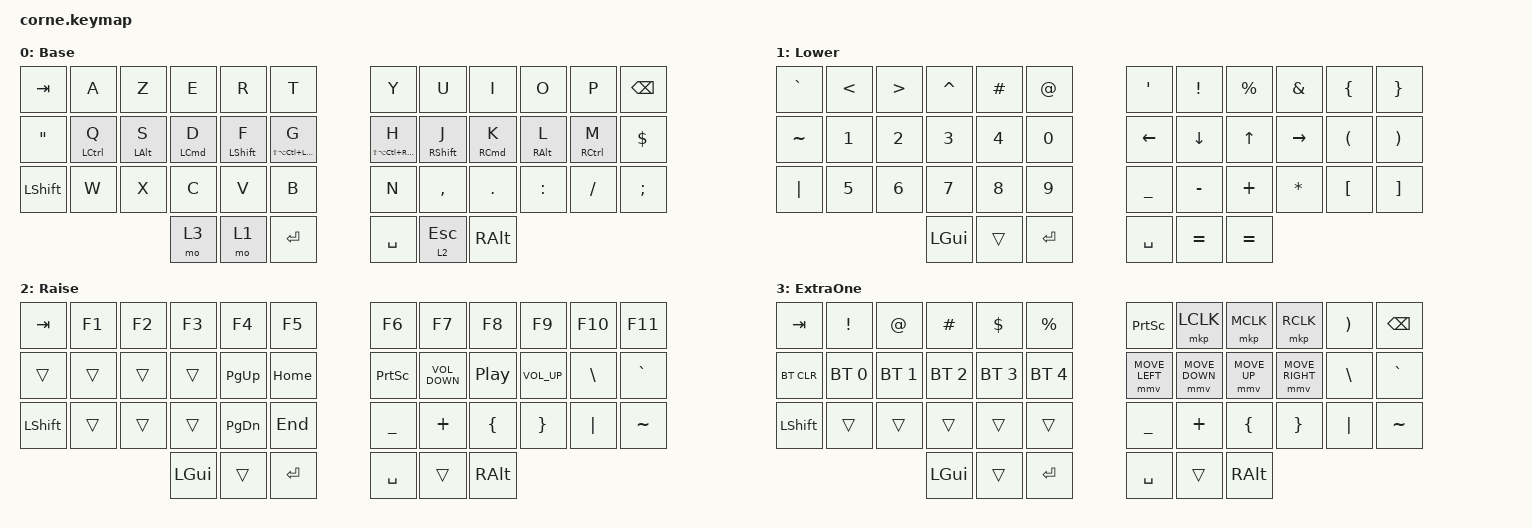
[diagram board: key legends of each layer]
/*
 * Copyright (c) 2020 The ZMK Contributors
 *
 * SPDX-License-Identifier: MIT
 */

#include <behaviors.dtsi>
#include <dt-bindings/zmk/bt.h>
#include <dt-bindings/zmk/keys.h>
#include <dt-bindings/zmk/pointing.h>

/ {
    behaviors {
        HMR: HMR {
            compatible = "zmk,behavior-hold-tap";
            label = "HMR";
            bindings = <&kp>, <&kp>;

            #binding-cells = <2>;
            tapping-term-ms = <280>;
            quick-tap-ms = <175>;
            hold-trigger-on-release;
            flavor = "balanced";
        };

        HML: HML {
            compatible = "zmk,behavior-hold-tap";
            label = "HML";
            bindings = <&kp>, <&kp>;

            #binding-cells = <2>;
            tapping-term-ms = <280>;
            quick-tap-ms = <175>;
            hold-trigger-on-release;
            flavor = "balanced";
        };
    };

    combos {
        compatible = "zmk,combos";

        esc {
            bindings = <&kp ESCAPE>;
            key-positions = <19 20 21>;
            layers = <0>;
        };
    };

    keymap {
        compatible = "zmk,keymap";

        default_layer {
            // -----------------------------------------------------------------------------------------
            // |  TAB |  Q  |  W  |  E  |  R  |  T  |   |  Y  |  U   |  I  |  O  |  P  | BKSP |
            // | CTRL |  A  |  S  |  D  |  F  |  G  |   |  H  |  J   |  K  |  L  |  ;  |  '   |
            // | SHFT |  Z  |  X  |  C  |  V  |  B  |   |  N  |  M   |  ,  |  .  |  /  | ESC  |
            //                    | GUI | LWR | SPC |   | ENT | RSE  | ALT |

            display-name = "Base";
            bindings = <
&kp TAB            &kp A         &kp Z            &kp E                &kp R              &kp T                      &kp Y                    &kp U               &kp I                 &kp O             &kp P         &kp BSPC
&kp DOUBLE_QUOTES  &HML LCTRL Q  &HML LEFT_ALT S  &HML LEFT_COMMAND D  &HML LEFT_SHIFT F  &HML LS(LA(LC(LGUI))) G    &HMR LS(LA(LC(RGUI))) H  &HMR RIGHT_SHIFT J  &HMR RIGHT_COMMAND K  &HMR RIGHT_ALT L  &HMR RCTRL M  &kp DOLLAR
&kp LSHFT          &kp W         &kp X            &kp C                &kp V              &kp B                      &kp N                    &kp COMMA           &kp DOT               &kp COLON         &kp FSLH      &kp SEMICOLON
                                                  &mo 3                &mo 1              &kp RETURN                 &kp SPACE                &lt 2 ESCAPE        &kp RIGHT_ALT
            >;
        };

        lower_layer {
            // -----------------------------------------------------------------------------------------
            // |  TAB |  1  |  2  |  3  |  4  |  5  |   |  6  |  7  |  8  |  9  |  0  | BKSP |
            // | BTCLR| BT1 | BT2 | BT3 | BT4 | BT5 |   | LFT | DWN |  UP | RGT |     |      |
            // | SHFT |     |     |     |     |     |   |     |     |     |     |     |      |
            //                    | GUI |     | SPC |   | ENT |     | ALT |

            display-name = "Lower";
            bindings = <
&kp GRAVE  &kp LESS_THAN  &kp GREATER_THAN  &kp CARET     &kp HASH      &kp AT     &kp SINGLE_QUOTE  &kp EXCL   &kp PERCENT  &kp AMPERSAND  &kp LEFT_BRACE        &kp RIGHT_BRACE
&kp TILDE  &kp NUMBER_1   &kp NUMBER_2      &kp NUMBER_3  &kp NUMBER_4  &kp N0     &kp LEFT          &kp DOWN   &kp UP       &kp RIGHT      &kp LEFT_PARENTHESIS  &kp RIGHT_PARENTHESIS
&kp PIPE   &kp N5         &kp NUMBER_6      &kp N7        &kp N8        &kp N9     &kp UNDERSCORE    &kp MINUS  &kp PLUS     &kp ASTERISK   &kp LEFT_BRACKET      &kp RIGHT_BRACKET
                                            &kp LGUI      &trans        &kp RET    &kp SPACE         &kp EQUAL  &kp EQUAL
            >;
        };

        raise_layer {
            // -----------------------------------------------------------------------------------------
            // |  TAB |  !  |  @  |  #  |  $  |  %  |   |  ^  |  &  |  *  |  (  |  )  | BKSP |
            // | CTRL |     |     |     |     |     |   |  -  |  =  |  [  |  ]  |  \  |  `   |
            // | SHFT |     |     |     |     |     |   |  _  |  +  |  {  |  }  | "|" |  ~   |
            //                    | GUI |     | SPC |   | ENT |     | ALT |

            display-name = "Raise";
            bindings = <
&kp TAB    &kp F1  &kp F2  &kp F3    &kp F4         &kp F5      &kp F6           &kp F7             &kp F8            &kp F9           &kp F10   &kp F11
&trans     &trans  &trans  &trans    &kp PAGE_UP    &kp HOME    &kp PRINTSCREEN  &kp C_VOLUME_DOWN  &kp C_PLAY_PAUSE  &kp C_VOLUME_UP  &kp BSLH  &kp GRAVE
&kp LSHFT  &trans  &trans  &trans    &kp PAGE_DOWN  &kp END     &kp UNDER        &kp PLUS           &kp LBRC          &kp RBRC         &kp PIPE  &kp TILDE
                           &kp LGUI  &trans         &kp RET     &kp SPACE        &trans             &kp RALT
            >;
        };

        extra_1 {
            // -----------------------------------------------------------------------------------------
            // |  TAB |  !  |  @  |  #  |  $  |  %  |   |  ^  |  &  |  *  |  (  |  )  | BKSP |
            // | CTRL |     |     |     |     |     |   |  -  |  =  |  [  |  ]  |  \  |  `   |
            // | SHFT |     |     |     |     |     |   |  _  |  +  |  {  |  }  | "|" |  ~   |
            //                    | GUI |     | SPC |   | ENT |     | ALT |

            display-name = "ExtraOne";
            bindings = <
&kp TAB     &kp EXCL      &kp AT        &kp HASH      &kp DLLR      &kp PRCNT       &kp PRINTSCREEN  &mkp LCLK       &mkp MCLK     &mkp RCLK        &kp RPAR  &kp BSPC
&bt BT_CLR  &bt BT_SEL 0  &bt BT_SEL 1  &bt BT_SEL 2  &bt BT_SEL 3  &bt BT_SEL 4    &mmv MOVE_LEFT   &mmv MOVE_DOWN  &mmv MOVE_UP  &mmv MOVE_RIGHT  &kp BSLH  &kp GRAVE
&kp LSHFT   &trans        &trans        &trans        &trans        &trans          &kp UNDER        &kp PLUS        &kp LBRC      &kp RBRC         &kp PIPE  &kp TILDE
                                        &kp LGUI      &trans        &kp RET         &kp SPACE        &trans          &kp RALT
            >;
        };

        extra_2 { status = "reserved"; };

        extra_3 { status = "reserved"; };
    };
};
